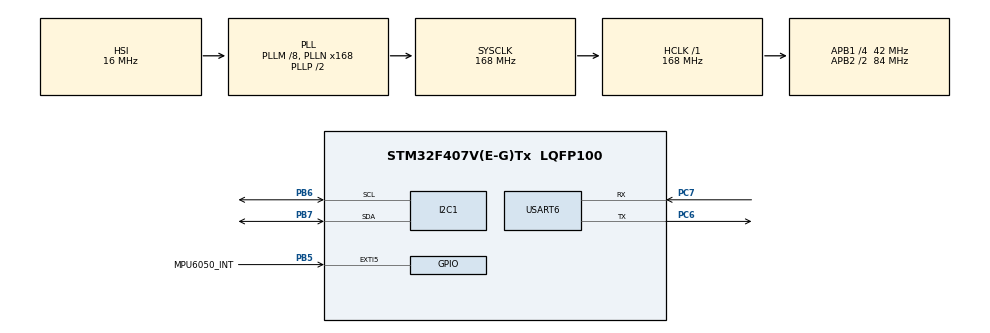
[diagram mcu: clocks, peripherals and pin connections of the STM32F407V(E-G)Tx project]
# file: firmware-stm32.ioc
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I2C1.I2C_Mode=I2C_Fast
Mcu.Family=STM32F4
Mcu.Name=STM32F407V(E-G)Tx
Mcu.Package=LQFP100
NVIC.EXTI9_5_IRQn=true\:0\:0\:false\:false\:true
NVIC.PriorityGroup=NVIC_PRIORITYGROUP_4
PB5.GPIO_Label=MPU6050_INT
PB5.GPIO_PuPd=GPIO_PULLDOWN
PB5.Signal=GPXTI5
PB6.Mode=I2C
PB6.Signal=I2C1_SCL
PB7.Mode=I2C
PB7.Signal=I2C1_SDA
PC6.Mode=Asynchronous
PC6.Signal=USART6_TX
PC7.Mode=Asynchronous
PC7.Signal=USART6_RX
PH0-OSC_IN.Mode=HSE-External-Oscillator
PH0-OSC_IN.Signal=RCC_OSC_IN
PH1-OSC_OUT.Mode=HSE-External-Oscillator
PH1-OSC_OUT.Signal=RCC_OSC_OUT
ProjectManager.HeapSize=0x200
ProjectManager.StackSize=0x400
ProjectManager.TargetToolchain=SW4STM32
RCC.48MHZClocksFreq_Value=84000000
RCC.AHBFreq_Value=168000000
RCC.APB1CLKDivider=RCC_HCLK_DIV4
RCC.APB1Freq_Value=42000000
RCC.APB1TimFreq_Value=84000000
RCC.APB2CLKDivider=RCC_HCLK_DIV2
RCC.APB2Freq_Value=84000000
RCC.APB2TimFreq_Value=168000000
RCC.CortexFreq_Value=168000000
RCC.HCLKFreq_Value=168000000
RCC.HSE_VALUE=25000000
RCC.HSI_VALUE=16000000
RCC.LSE_VALUE=32768
RCC.PLLM=8
RCC.PLLN=168
RCC.SYSCLKFreq_VALUE=168000000
RCC.SYSCLKSource=RCC_SYSCLKSOURCE_PLLCLK
RCC.VCOOutputFreq_Value=336000000
USART6.VirtualMode=VM_ASYNC
board=firmware-stm32

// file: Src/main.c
/**
  ******************************************************************************
  * File Name          : main.c
  * Description        : Main program body
  ******************************************************************************
  ** This notice applies to any and all portions of this file
  * that are not between comment pairs USER CODE BEGIN and
  * USER CODE END. Other portions of this file, whether
  * inserted by the user or by software development tools
  * are owned by their respective copyright owners.
  *
  * COPYRIGHT(c) 2017 STMicroelectronics
  *
  * Redistribution and use in source and binary forms, with or without modification,
  * are permitted provided that the following conditions are met:
  *   1. Redistributions of source code must retain the above copyright notice,
  *      this list of conditions and the following disclaimer.
  *   2. Redistributions in binary form must reproduce the above copyright notice,
  *      this list of conditions and the following disclaimer in the documentation
  *      and/or other materials provided with the distribution.
  *   3. Neither the name of STMicroelectronics nor the names of its contributors
  *      may be used to endorse or promote products derived from this software
  *      without specific prior written permission.
  *
  * THIS SOFTWARE IS PROVIDED BY THE COPYRIGHT HOLDERS AND CONTRIBUTORS "AS IS"
  * AND ANY EXPRESS OR IMPLIED WARRANTIES, INCLUDING, BUT NOT LIMITED TO, THE
  * IMPLIED WARRANTIES OF MERCHANTABILITY AND FITNESS FOR A PARTICULAR PURPOSE ARE
  * DISCLAIMED. IN NO EVENT SHALL THE COPYRIGHT HOLDER OR CONTRIBUTORS BE LIABLE
  * FOR ANY DIRECT, INDIRECT, INCIDENTAL, SPECIAL, EXEMPLARY, OR CONSEQUENTIAL
  * DAMAGES (INCLUDING, BUT NOT LIMITED TO, PROCUREMENT OF SUBSTITUTE GOODS OR
  * SERVICES; LOSS OF USE, DATA, OR PROFITS; OR BUSINESS INTERRUPTION) HOWEVER
  * CAUSED AND ON ANY THEORY OF LIABILITY, WHETHER IN CONTRACT, STRICT LIABILITY,
  * OR TORT (INCLUDING NEGLIGENCE OR OTHERWISE) ARISING IN ANY WAY OUT OF THE USE
  * OF THIS SOFTWARE, EVEN IF ADVISED OF THE POSSIBILITY OF SUCH DAMAGE.
  *
  ******************************************************************************
  */
#include "main.h"
#include "stm32f4xx_hal.h"

/* USER CODE BEGIN Includes */
#include "defines.h"
#include "classifiers_dataset.h"
#include "classifiers.h"
#include "imu.h"
#include "result_processor.h"
#include "settings.h"
#include "tests.h"

/* USER CODE END Includes */

I2C_HandleTypeDef hi2c1;

UART_HandleTypeDef huart6;

/* USER CODE BEGIN PV */
/* Private variables ---------------------------------------------------------*/
USART_TypeDef* USARTx = USART6;

IMU_Sensor imu_instance;
IMU_Sensor* imu_sensor;
TM_AHRSIMU_t ahrs;
classifiers_dataset_t dataset;
uint32_t dataset_updates;
/* USER CODE END PV */

void SystemClock_Config(void);
static void MX_GPIO_Init(void);
static void MX_I2C1_Init(void);
static void MX_USART6_UART_Init(void);

/* USER CODE BEGIN PFP */
/* Private function prototypes -----------------------------------------------*/
void HAL_GPIO_EXTI_Callback(uint16_t GPIO_Pin);

//void TM_DELAY_1msHandler(void);
/* USER CODE END PFP */

int main(void)
{

  /* MCU Configuration----------------------------------------------------------*/

  /* Reset of all peripherals, Initializes the Flash interface and the Systick. */
  HAL_Init();

  /* USER CODE BEGIN Init */
  TM_DISCO_LedInit();
  /* USER CODE END Init */

  /* Configure the system clock */
  SystemClock_Config();

  /* Initialize all configured peripherals */
  MX_GPIO_Init();
  MX_I2C1_Init();
  MX_USART6_UART_Init();

  /* USER CODE BEGIN 2 */
  TM_USART_Init(USART6, TM_USART_PinsPack_1, COM_PORT_BAUD_RATE);
  TM_USART_Puts(USART6, "\r\n");

  run_all_tests(USARTx);
  imu_sensor = &imu_instance;
  IMU_Sensor_Initialize(imu_sensor, USARTx);
  /* Init structure with 100hZ sample rate, 0.1 beta and 3.5 inclination
   * (3.5 degrees is inclination in Ljubljana, Slovenia) on July, 2016
   * TODO: parameter order taken from example is against param names */
  TM_AHRSIMU_Init(&ahrs, DATASET_UPDATE_FREQUENCY_HZ, 0.2f, 3.5f);
  dataset = Dataset_Initialize();
  Result_process_Initialize(USARTx);
  /* USER CODE END 2 */

  /* Infinite loop */
  while (1)
  {

  /* USER CODE BEGIN 3 */
	  // get new reads from sensor
	  Dataset_Update();
	  Result_process_Check_Mode();
	  uint32_t now = HAL_GetTick();
	  Result_process_Reads(now, &dataset);
	  // push all results queued in meantime
	  Dataset_queue_Process(&dataset);
  }

  /* USER CODE END 3 */

}

/** System Clock Configuration
*/
void SystemClock_Config(void)
{

  RCC_OscInitTypeDef RCC_OscInitStruct;
  RCC_ClkInitTypeDef RCC_ClkInitStruct;

    /**Configure the main internal regulator output voltage
    */
  __HAL_RCC_PWR_CLK_ENABLE();

  __HAL_PWR_VOLTAGESCALING_CONFIG(PWR_REGULATOR_VOLTAGE_SCALE1);

    /**Initializes the CPU, AHB and APB busses clocks
    */
  RCC_OscInitStruct.OscillatorType = RCC_OSCILLATORTYPE_HSI;
  RCC_OscInitStruct.HSIState = RCC_HSI_ON;
  RCC_OscInitStruct.HSICalibrationValue = 16;
  RCC_OscInitStruct.PLL.PLLState = RCC_PLL_ON;
  RCC_OscInitStruct.PLL.PLLSource = RCC_PLLSOURCE_HSI;
  RCC_OscInitStruct.PLL.PLLM = 8;
  RCC_OscInitStruct.PLL.PLLN = 168;
  RCC_OscInitStruct.PLL.PLLP = RCC_PLLP_DIV2;
  RCC_OscInitStruct.PLL.PLLQ = 4;
  if (HAL_RCC_OscConfig(&RCC_OscInitStruct) != HAL_OK)
  {
    _Error_Handler(__FILE__, __LINE__);
  }

    /**Initializes the CPU, AHB and APB busses clocks
    */
  RCC_ClkInitStruct.ClockType = RCC_CLOCKTYPE_HCLK|RCC_CLOCKTYPE_SYSCLK
                              |RCC_CLOCKTYPE_PCLK1|RCC_CLOCKTYPE_PCLK2;
  RCC_ClkInitStruct.SYSCLKSource = RCC_SYSCLKSOURCE_PLLCLK;
  RCC_ClkInitStruct.AHBCLKDivider = RCC_SYSCLK_DIV1;
  RCC_ClkInitStruct.APB1CLKDivider = RCC_HCLK_DIV4;
  RCC_ClkInitStruct.APB2CLKDivider = RCC_HCLK_DIV2;

  if (HAL_RCC_ClockConfig(&RCC_ClkInitStruct, FLASH_LATENCY_5) != HAL_OK)
  {
    _Error_Handler(__FILE__, __LINE__);
  }

    /**Configure the Systick interrupt time
    */
  HAL_SYSTICK_Config(HAL_RCC_GetHCLKFreq()/1000);

    /**Configure the Systick
    */
  HAL_SYSTICK_CLKSourceConfig(SYSTICK_CLKSOURCE_HCLK);

  /* SysTick_IRQn interrupt configuration */
  HAL_NVIC_SetPriority(SysTick_IRQn, 0, 0);
}

/* I2C1 init function */
static void MX_I2C1_Init(void)
{

  hi2c1.Instance = I2C1;
  hi2c1.Init.ClockSpeed = 400000;
  hi2c1.Init.DutyCycle = I2C_DUTYCYCLE_2;
  hi2c1.Init.OwnAddress1 = 0;
  hi2c1.Init.AddressingMode = I2C_ADDRESSINGMODE_7BIT;
  hi2c1.Init.DualAddressMode = I2C_DUALADDRESS_DISABLE;
  hi2c1.Init.OwnAddress2 = 0;
  hi2c1.Init.GeneralCallMode = I2C_GENERALCALL_DISABLE;
  hi2c1.Init.NoStretchMode = I2C_NOSTRETCH_DISABLE;
  if (HAL_I2C_Init(&hi2c1) != HAL_OK)
  {
    _Error_Handler(__FILE__, __LINE__);
  }

}

/* USART6 init function */
static void MX_USART6_UART_Init(void)
{

  huart6.Instance = USART6;
  huart6.Init.BaudRate = 115200;
  huart6.Init.WordLength = UART_WORDLENGTH_8B;
  huart6.Init.StopBits = UART_STOPBITS_1;
  huart6.Init.Parity = UART_PARITY_NONE;
  huart6.Init.Mode = UART_MODE_TX_RX;
  huart6.Init.HwFlowCtl = UART_HWCONTROL_NONE;
  huart6.Init.OverSampling = UART_OVERSAMPLING_16;
  if (HAL_UART_Init(&huart6) != HAL_OK)
  {
    _Error_Handler(__FILE__, __LINE__);
  }

}

/** Configure pins as
        * Analog
        * Input
        * Output
        * EVENT_OUT
        * EXTI
*/
static void MX_GPIO_Init(void)
{

  GPIO_InitTypeDef GPIO_InitStruct;

  /* GPIO Ports Clock Enable */
  __HAL_RCC_GPIOH_CLK_ENABLE();
  __HAL_RCC_GPIOC_CLK_ENABLE();
  __HAL_RCC_GPIOB_CLK_ENABLE();

  /*Configure GPIO pin : MPU6050_INT_Pin */
  GPIO_InitStruct.Pin = MPU6050_INT_Pin;
  GPIO_InitStruct.Mode = GPIO_MODE_IT_RISING;
  GPIO_InitStruct.Pull = GPIO_PULLDOWN;
  HAL_GPIO_Init(MPU6050_INT_GPIO_Port, &GPIO_InitStruct);

  /* EXTI interrupt init*/
  HAL_NVIC_SetPriority(EXTI9_5_IRQn, 0, 0);
  HAL_NVIC_EnableIRQ(EXTI9_5_IRQn);

}

/* USER CODE BEGIN 4 */
void HAL_GPIO_EXTI_Callback(uint16_t GPIO_Pin) {
	if (GPIO_Pin == MPU6050_INT_Pin) {
		// I2C communication uses interrupts, ext interrupt handler can only set flag
		IMU_Sensor_UpdateInterruptFlag(imu_sensor, SENSOR_DATA_READY_TO_READ);
	}
}

volatile uint8_t dataset_update_interval = DATASET_UPDATE_INTERVAL_MS;
volatile uint32_t prev_dataset_update;
volatile uint8_t dataset_update_counter = 0;

void Dataset_Update() {
	uint32_t now = HAL_GetTick();
	uint32_t timedelta = now - prev_dataset_update;
	if(timedelta >= dataset_update_interval
			&& imu_sensor->init_result == TM_MPU6050_Result_Ok
			&& imu_sensor->irq_flag_state == SENSOR_DATA_READY_TO_READ)
	{
		IMU_Reads_union last_reads, reads_normalized;
		IMU_Sensor_Read_Interrupts(imu_sensor);
		last_reads.results = IMU_AHRS_Update(imu_sensor, &ahrs);

		if(dataset_update_interval == SERIAL_READS_UPDATE_INTERVAL_MS)
		{
			// SERIAL_FRONTEND_MODE
			if(USARTx != NULL) {
				AHRS_PrintSerialIMU_Results(USARTx, last_reads.results);
			}
		} else {
			knn_normalize(last_reads.buffer, reads_normalized.buffer);
			Dataset_queue_Push(&dataset, &last_reads);
		}
		prev_dataset_update = now;
	}
}

void Dataset_Set_Update_Frequency(uint8_t interval) {
	 dataset_update_interval = interval;
}

/* USER CODE END 4 */

void _Error_Handler(char * file, int line)
{
  while(1)
  {
  }
}

/************************ (C) COPYRIGHT STMicroelectronics *****END OF FILE****/
